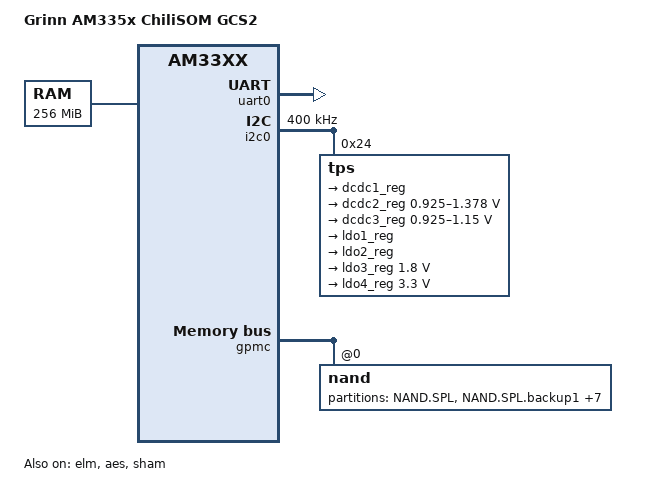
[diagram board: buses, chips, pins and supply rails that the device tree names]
/*
 * Copyright (C) 2015 Grinn - http://www.grinn-global.com
 * Grzegorz Glomb <g.glomb@grinn-global.com>
 *
 * This program is free software; you can redistribute it and/or modify
 * it under the terms of the GNU General Public License version 2 as
 * published by the Free Software Foundation.
 */

/ {
	model = "Grinn AM335x ChiliSOM GCS2";
	compatible = "grinn,am335x-chilisom-gcs2", "ti,am33xx";

	cpus {
		cpu@0 {
			cpu0-supply = <&dcdc2_reg>;

			operating-points = <
				/* kHz    uV */
				800000	1300000
				600000	1112000
				300000	969000
			>;
		};
	};

	memory {
		device_type = "memory";
		reg = <0x80000000 0x10000000>; /* 256 MB */
	};
};

&am33xx_pinmux {
	pinctrl-names = "default";

	i2c0_pins: pinmux_i2c0_pins {
		pinctrl-single,pins = <
			0x188 (PIN_INPUT_PULLUP | MUX_MODE0)	/* i2c0_sda.i2c0_sda */
			0x18c (PIN_INPUT_PULLUP | MUX_MODE0)	/* i2c0_scl.i2c0_scl */
		>;
	};

	uart0_pins: pinmux_uart0_pins {
		pinctrl-single,pins = <
			0x170 (PIN_INPUT_PULLUP | MUX_MODE0)	/* uart0_rxd.uart0_rxd */
			0x174 (PIN_OUTPUT_PULLDOWN | MUX_MODE0)	/* uart0_txd.uart0_txd */
		>;
	};

	nandflash_pins_default: nandflash_pins_default {
		pinctrl-single,pins = <
			0x0 (PIN_INPUT_PULLUP | MUX_MODE0)	/* gpmc_ad0.gpmc_ad0 */
			0x4 (PIN_INPUT_PULLUP | MUX_MODE0)	/* gpmc_ad1.gpmc_ad1 */
			0x8 (PIN_INPUT_PULLUP | MUX_MODE0)	/* gpmc_ad2.gpmc_ad2 */
			0xc (PIN_INPUT_PULLUP | MUX_MODE0)	/* gpmc_ad3.gpmc_ad3 */
			0x10 (PIN_INPUT_PULLUP | MUX_MODE0)	/* gpmc_ad4.gpmc_ad4 */
			0x14 (PIN_INPUT_PULLUP | MUX_MODE0)	/* gpmc_ad5.gpmc_ad5 */
			0x18 (PIN_INPUT_PULLUP | MUX_MODE0)	/* gpmc_ad6.gpmc_ad6 */
			0x1c (PIN_INPUT_PULLUP | MUX_MODE0)	/* gpmc_ad7.gpmc_ad7 */
			0x70 (PIN_INPUT_PULLUP | MUX_MODE0)	/* gpmc_wait0.gpmc_wait0 */
			0x7c (PIN_OUTPUT | MUX_MODE0)		/* gpmc_csn0.gpmc_csn0 */
			0x90 (PIN_OUTPUT | MUX_MODE0)		/* gpmc_advn_ale.gpmc_advn_ale */
			0x94 (PIN_OUTPUT | MUX_MODE0)		/* gpmc_oen_ren.gpmc_oen_ren */
			0x98 (PIN_OUTPUT | MUX_MODE0)		/* gpmc_wen.gpmc_wen */
			0x9c (PIN_OUTPUT | MUX_MODE0)		/* gpmc_be0n_cle.gpmc_be0n_cle */
		>;
	};

	nandflash_pins_sleep: nandflash_pins_sleep {
		pinctrl-single,pins = <
			0x0 (PIN_INPUT_PULLDOWN | MUX_MODE7)
			0x4 (PIN_INPUT_PULLDOWN | MUX_MODE7)
			0x8 (PIN_INPUT_PULLDOWN | MUX_MODE7)
			0xc (PIN_INPUT_PULLDOWN | MUX_MODE7)
			0x10 (PIN_INPUT_PULLDOWN | MUX_MODE7)
			0x14 (PIN_INPUT_PULLDOWN | MUX_MODE7)
			0x18 (PIN_INPUT_PULLDOWN | MUX_MODE7)
			0x1c (PIN_INPUT_PULLDOWN | MUX_MODE7)
			0x70 (PIN_INPUT_PULLDOWN | MUX_MODE7)
			0x7c (PIN_INPUT_PULLDOWN | MUX_MODE7)
			0x90 (PIN_INPUT_PULLDOWN | MUX_MODE7)
			0x94 (PIN_INPUT_PULLDOWN | MUX_MODE7)
			0x98 (PIN_INPUT_PULLDOWN | MUX_MODE7)
			0x9c (PIN_INPUT_PULLDOWN | MUX_MODE7)
		>;
	};
};

&uart0 {
	pinctrl-names = "default";
	pinctrl-0 = <&uart0_pins>;
	status = "okay";
};

&i2c0 {
	pinctrl-names = "default";
	pinctrl-0 = <&i2c0_pins>;
	status = "okay";
	clock-frequency = <400000>;

	/* Set OPP50 (0.95V) for VDD core */
	sleep-sequence = /bits/ 8 <
		0x02 0x24 0x0b 0x6d /* Password unlock 1 */
		0x02 0x24 0x10 0x02 /* Set DCDC3 to 0.95V */
		0x02 0x24 0x0b 0x6d /* Password unlock 2 */
		0x02 0x24 0x10 0x02 /* Set DCDC3 to 0.95V */
		0x02 0x24 0x0b 0x6c /* Password unlock 1 */
		0x02 0x24 0x11 0x86 /* Apply DCDC changes */
		0x02 0x24 0x0b 0x6c /* Password unlock 2 */
		0x02 0x24 0x11 0x86 /* Apply DCDC changes */
	>;

	/* Set OPP100 (1.10V) for VDD core */
	wake-sequence = /bits/ 8 <
		0x02 0x24 0x0b 0x6d /* Password unlock 1 */
		0x02 0x24 0x10 0x08 /* Set DCDC3 to 1.1V */
		0x02 0x24 0x0b 0x6d /* Password unlock 2 */
		0x02 0x24 0x10 0x08 /* Set DCDC3 to 1.1V */
		0x02 0x24 0x0b 0x6c /* Password unlock 1 */
		0x02 0x24 0x11 0x86 /* Apply DCDC changes */
		0x02 0x24 0x0b 0x6c /* Password unlock 2 */
		0x02 0x24 0x11 0x86 /* Apply DCDC changes */
	>;

	tps: tps@24 {
		reg = <0x24>;
	};
};

&elm {
	status = "okay";
};

&gpmc {
	/* NAND 256MB */
	status = "okay";
	pinctrl-names = "default", "sleep";
	pinctrl-0 = <&nandflash_pins_default>;
	pinctrl-1 = <&nandflash_pins_sleep>;
	ranges = <0 0 0x08000000 0x10000000>;	/* CS0: NAND */
	nand@0,0 {
		reg = <0 0 0>; /* CS0, offset 0 */
		nand-bus-width = <8>;
		gpmc,device-width = <1>;
		gpmc,sync-clk-ps = <0>;
		gpmc,cs-on-ns = <0>;
		gpmc,cs-rd-off-ns = <44>;
		gpmc,cs-wr-off-ns = <44>;
		gpmc,adv-on-ns = <6>;
		gpmc,adv-rd-off-ns = <34>;
		gpmc,adv-wr-off-ns = <44>;
		gpmc,we-on-ns = <0>;
		gpmc,we-off-ns = <40>;
		gpmc,oe-on-ns = <0>;
		gpmc,oe-off-ns = <54>;
		gpmc,access-ns = <64>;
		gpmc,rd-cycle-ns = <82>;
		gpmc,wr-cycle-ns = <82>;
		gpmc,wait-on-read = "true";
		gpmc,wait-on-write = "true";
		gpmc,bus-turnaround-ns = <0>;
		gpmc,cycle2cycle-delay-ns = <0>;
		gpmc,clk-activation-ns = <0>;
		gpmc,wait-monitoring-ns = <0>;
		gpmc,wr-access-ns = <40>;
		gpmc,wr-data-mux-bus-ns = <0>;
		ti,nand-ecc-opt= "bch8";
		ti,elm-id = <&elm>;
		#address-cells = <1>;
		#size-cells = <1>;
		partition@0 {
			label = "NAND.SPL";
			reg = <0x00000000 0x00020000>;
		};
		partition@1 {
			label = "NAND.SPL.backup1";
			reg = <0x00020000 0x00020000>;
		};
		partition@2 {
			label = "NAND.SPL.backup2";
			reg = <0x00040000 0x00020000>;
		};
		partition@3 {
			label = "NAND.SPL.backup3";
			reg = <0x00060000 0x00020000>;
		};
		partition@4 {
			label = "NAND.u-boot";
			reg = <0x00080000 0x001C0000>;
		};
		partition@5 {
			label = "NAND.u-boot-spl-os";
			reg = <0x00240000 0x00020000>;
		};
		partition@6 {
			label = "NAND.u-boot-env";
			reg = <0x00260000 0x00020000>;
		};
		partition@7 {
			label = "NAND.kernel";
			reg = <0x00280000 0x00500000>;
		};
		partition@8 {
			label = "NAND.file-system";
			reg = <0x00780000 0x0F880000>;
		};
	};
};

#include "tps65217.dtsi"

&tps {
	ti,pmic-shutdown-controller;

	interrupt-parent = <&intc>;
	interrupts = <7>; /* NNMI */

	regulators {
		dcdc1_reg: regulator@0 {
			regulator-name = "vdds_dpr";
			regulator-always-on;
		};

		dcdc2_reg: regulator@1 {
			/* VDD_MPU voltage limits 0.95V - 1.325V with +/-4% tolerance */
			regulator-name = "vdd_mpu";
			regulator-min-microvolt = <925000>;
			regulator-max-microvolt = <1378000>;
			regulator-boot-on;
			regulator-always-on;
		};

		dcdc3_reg: regulator@2 {
			/* VDD_CORE voltage limits 0.95V - 1.1V with +/-4% tolerance */
			regulator-name = "vdd_core";
			regulator-min-microvolt = <925000>;
			regulator-max-microvolt = <1150000>;
			regulator-boot-on;
			regulator-always-on;
		};

		ldo1_reg: regulator@3 {
			regulator-name = "vio,vrtc,vdds";
			regulator-boot-on;
			regulator-always-on;
		};

		ldo2_reg: regulator@4 {
			regulator-name = "vdd_3v3aux";
			regulator-boot-on;
			regulator-always-on;
		};

		ldo3_reg: regulator@5 {
			/* GCS1 LDO3=3.3V, GCS2 LDO3=1.8V */
			regulator-name = "vdd_1v8";
			regulator-min-microvolt = <1800000>;
			regulator-max-microvolt = <1800000>;
			regulator-boot-on;
			regulator-always-on;
		};

		ldo4_reg: regulator@6 {
			regulator-name = "vdd_3v3a";
			regulator-min-microvolt = <3300000>;
			regulator-max-microvolt = <3300000>;
			regulator-boot-on;
			regulator-always-on;
		};
	};
};

&rtc {
	system-power-controller;
};

&wkup_m3 {
	ti,scale-data-fw = "am335x-bone-scale-data.bin";
};

&aes {
	status = "okay";
};

&sham {
	status = "okay";
};
